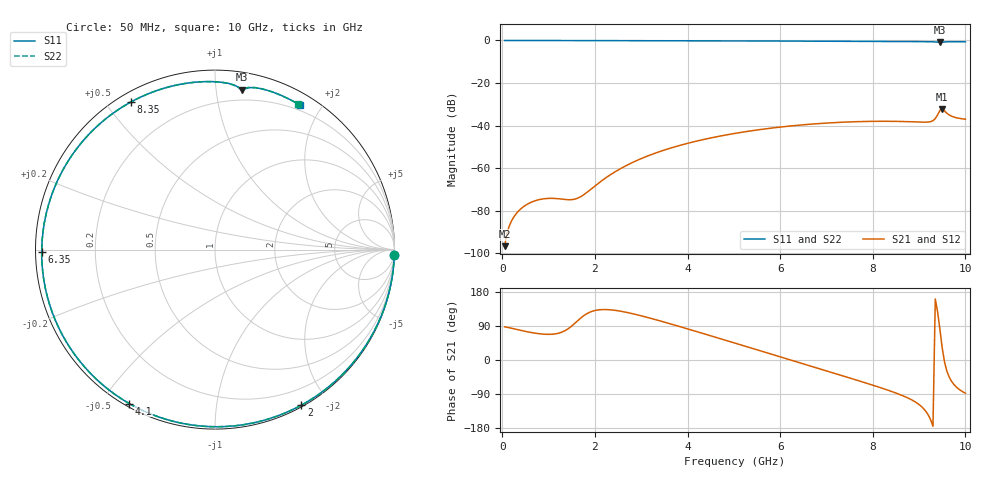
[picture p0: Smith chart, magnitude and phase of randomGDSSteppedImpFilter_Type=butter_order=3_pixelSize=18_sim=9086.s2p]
! freq	dB(S11)	phase(S11)	dB(S12)	phase(S12)
!  dB(S21)	phase(S21)	dB(S22)	phase(S22)
!S-par simulation data
#  GHz  S  DB  R 50
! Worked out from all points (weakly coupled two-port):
!   200 points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, 50 MHz to 10 GHz, reference 50 ohm
!   highest |S21| = -32.22 dB at 9.5 GHz (marker M1); lowest = -96.6 dB at 50 MHz (marker M2)
!   lowest |S11| = -0.9 dB at 9.45 GHz (marker M3), VSWR 19.67, Z = 6.07 + j58.7 ohm
!   |S11| at or under -10 dB: nowhere
!   |S22| runs from -0.9 to 0.0 dB; largest |S21 - S12| = 0
!   S11 on the Smith chart (normalised r, x): 50 MHz: 1, -72; 2 GHz: 0.02, -1.70; 4.1 GHz: 0.01, -0.59; 6.35 GHz: 0.02, -0.01; 8.35 GHz: 0.04, +0.58; 10 GHz: 0.14, +1.74
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0.05  -0.00 -1.6  -96.56 87.6  -96.56 87.6  -0.00 -1.6
0.35  -0.01 -11.0  -80.08 79.5  -80.08 79.5  -0.01 -11.0
0.55  -0.02 -17.2  -76.76 74.3  -76.76 74.3  -0.02 -17.2
0.8  -0.03 -24.9  -74.70 69.2  -74.70 69.2  -0.03 -24.9
1.5  -0.06 -46.2  -74.72 89.7  -74.72 89.7  -0.06 -46.2
1.75  -0.07 -53.6  -72.55 116.1  -72.55 116.1  -0.07 -53.6
2  -0.08 -61.0  -68.32 130.6  -68.32 130.6  -0.08 -60.9
2.65  -0.10 -79.6  -59.02 126.5  -59.02 126.5  -0.10 -79.6
3.4  -0.13 -100.3  -52.16 103.4  -52.16 103.4  -0.13 -100.3
4.1  -0.16 -119.1  -47.75 78.5  -47.75 78.5  -0.16 -119.1
5.05  -0.21 -144.2  -43.52 43.6  -43.52 43.6  -0.21 -144.1
5.7  -0.25 -161.5  -41.44 19.5  -41.44 19.5  -0.25 -161.3
6.35  -0.30 -179.2  -39.88 -4.5  -39.88 -4.5  -0.30 -179.0
6.7  -0.33 171.0  -39.23 -17.5  -39.23 -17.5  -0.33 171.1
7.5  -0.40 147.3  -38.24 -47.3  -38.24 -47.3  -0.40 147.5
8.35  -0.48 119.8  -37.95 -80.6  -37.95 -80.6  -0.48 120.1
9.25  -0.61 87.3  -38.11 -157.8  -38.11 -157.8  -0.61 87.7
9.35  -0.69 83.4  -36.69 161.1  -36.69 161.1  -0.69 83.7
9.45  -0.88 80.5  -32.82 80.9  -32.82 80.9  -0.89 80.8
9.5  -0.83 79.7  -32.22 31.3  -32.22 31.3  -0.83 80.1
9.7  -0.59 71.7  -35.53 -56.0  -35.53 -56.0  -0.59 72.1
10  -0.59 59.7  -36.97 -87.7  -36.97 -87.7  -0.59 60.1
